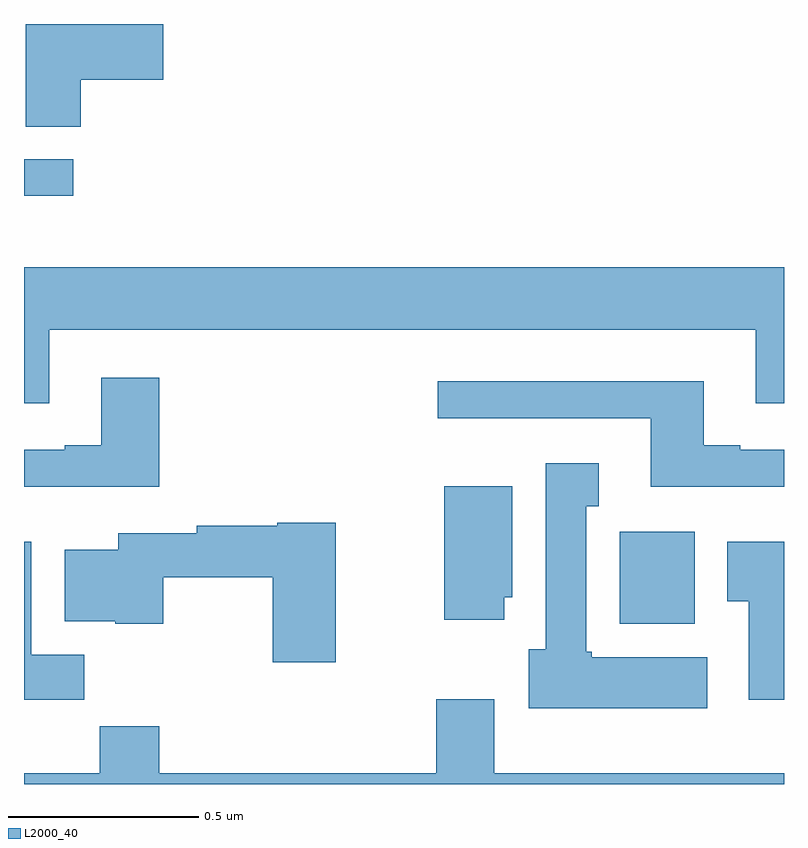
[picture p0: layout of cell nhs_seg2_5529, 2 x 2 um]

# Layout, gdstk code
import gdstk
lib = gdstk.Library(unit=1e-6, precision=1e-09)
def R(c, l, rs):  # rectangles x0, y0, x1, y1
    for r in rs: c.add(gdstk.rectangle(r[:2], r[2:], *l))
def P(c, l, *ps):  # polygons
    for p in ps: c.add(gdstk.Polygon(p, *l))
L2000_40 = (2000, 40)

nhs_seg2_5529 = lib.new_cell('nhs_seg2_5529')
R(nhs_seg2_5529, L2000_40, [(181.568,620.222,181.765,620.464), (180,621.348,180.13,621.444)])
P(nhs_seg2_5529, L2000_40, [(180.149,621.653),(180.367,621.653),(180.367,621.8),(180.005,621.8),(180.005,621.529),(180.149,621.529)],
  [(180.067,620.996),(181.925,620.996),(181.925,620.802),(182,620.802),(182,621.16),(180,621.16),(180,620.802),(180.067,620.802)],
  [(180.356,620.869),(180.203,620.869),(180.203,620.692),(180.107,620.692),(180.107,620.679),(180,620.679),(180,620.582),(180.356,620.582)],
  [(182,620.679),(181.885,620.679),(181.885,620.692),(181.789,620.692),(181.789,620.86),(181.089,620.86),(181.089,620.763),(181.649,620.763),(181.649,620.582),(182,620.582)],
  [(181.798,620.134),(181.494,620.134),(181.494,620.148),(181.48,620.148),(181.48,620.531),(181.513,620.531),(181.513,620.644),(181.373,620.644),(181.373,620.154),(181.328,620.154),(181.328,620),(181.798,620)],
  [(181.264,620.292),(181.285,620.292),(181.285,620.584),(181.106,620.584),(181.106,620.232),(181.264,620.232)],
  [(180.82,620.488),(180.666,620.488),(180.666,620.48),(180.454,620.48),(180.454,620.46),(180.248,620.46),(180.248,620.416),(180.107,620.416),(180.107,620.228),(180.24,620.228),(180.24,620.222),(180.366,620.222),(180.366,620.344),(180.655,620.344),(180.655,620.121),(180.82,620.121)],
  [(180.158,620.14),(180.019,620.14),(180.019,620.437),(180,620.437),(180,620.022),(180.158,620.022)],
  [(182,620.437),(181.85,620.437),(181.85,620.281),(181.907,620.281),(181.907,620.022),(182,620.022)],
  [(182,619.828),(181.237,619.828),(181.237,620.023),(181.085,620.023),(181.085,619.828),(180.356,619.828),(180.356,619.952),(180.199,619.952),(180.199,619.828),(180,619.828),(180,619.8),(182,619.8)])

lib.write_gds('nhs_seg2_5529.gds')
